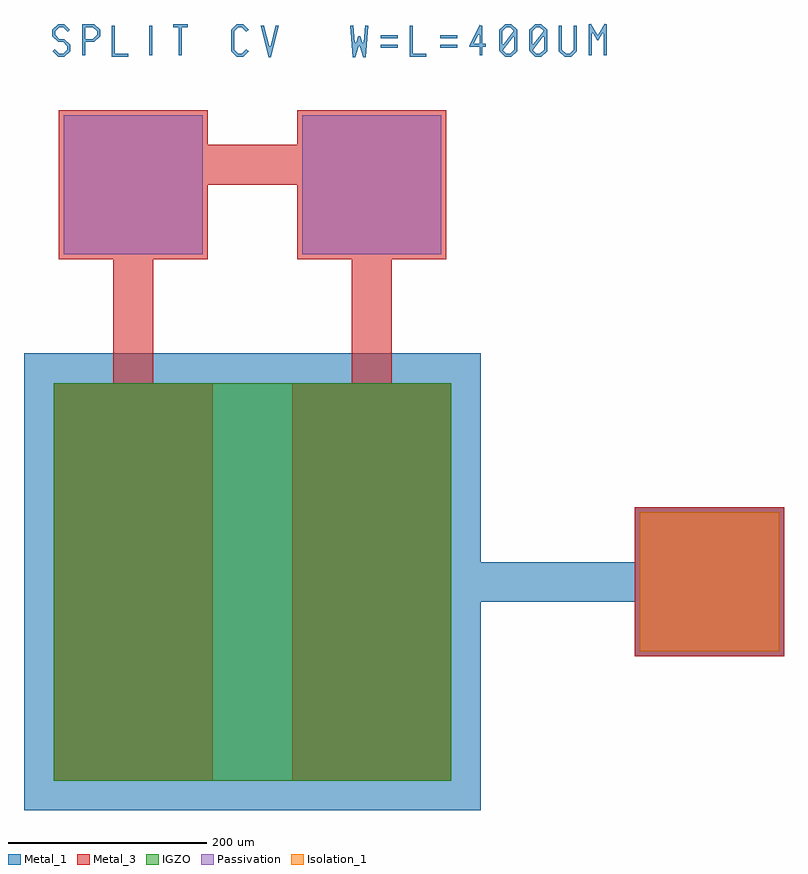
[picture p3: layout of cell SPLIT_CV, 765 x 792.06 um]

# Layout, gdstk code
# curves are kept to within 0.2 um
import gdstk
lib = gdstk.Library(unit=1e-6, precision=1e-09)
def R(c, l, rs):  # rectangles x0, y0, x1, y1
    for r in rs: c.add(gdstk.rectangle(r[:2], r[2:], *l))
def P(c, l, *ps):  # polygons
    for p in ps: c.add(gdstk.Polygon(p, *l))
Metal_1 = (1, 0)
Isolation_1 = (2, 0)
IGZO = (4, 0)
Metal_3 = (5, 0)
Passivation = (6, 0)

split_cv = lib.new_cell('SPLIT_CV')
R(split_cv, Metal_1, [(-30,-30,430,430), (585,125,735,275), (430,180,585,220), (96,730,99,760), (329,737.5,346,740.5), (389,737.5,406,740.5), (329,747.5,346,750.5), (389,747.5,406,750.5)])
P(split_cv, Metal_1, [(126,730),(126,758.5),(120,758.5),(120,761.5),(135,761.5),(135,758.5),(129,758.5),(129,730)],
  [(538.5,730),(538.5,761.5),(540.515,762.058),(547.157,750.986),(547.843,750.986),(554.485,762.058),(556.5,761.5),(556.5,730),(553.5,730),(553.5,751.975),(552.157,752.347),(548.014,745.442),(546.986,745.442),(542.843,752.347),(541.5,751.975),(541.5,730)],
  [(28.5,730),(28.5,758.5),(31.5,758.5),(31.5,746.5),(39.378,746.5),(43.5,750.622),(43.5,754.378),(39.378,758.5),(28.5,758.5),(28.5,761.5),(40.622,761.5),(46.5,755.622),(46.5,749.378),(40.622,743.5),(31.5,743.5),(31.5,730)],
  [(4.378,728.5),(-1.061,733.939),(1.061,736.061),(5.622,731.5),(9.378,731.5),(13.5,735.622),(13.5,739.378),(9.378,743.5),(4.378,743.5),(-1.5,749.378),(-1.5,755.622),(4.378,761.5),(10.622,761.5),(16.061,756.061),(13.939,753.939),(9.378,758.5),(5.622,758.5),(1.5,754.378),(1.5,750.622),(5.622,746.5),(10.622,746.5),(16.5,740.622),(16.5,734.378),(10.622,728.5)],
  [(184.378,728.5),(178.5,734.378),(178.5,755.622),(184.378,761.5),(190.622,761.5),(196.061,756.061),(193.939,753.939),(189.378,758.5),(185.622,758.5),(181.5,754.378),(181.5,735.622),(185.622,731.5),(189.378,731.5),(193.939,736.061),(196.061,733.939),(190.622,728.5)],
  [(58.5,728.5),(58.5,760),(61.5,760),(61.5,731.5),(75,731.5),(75,728.5)],
  [(358.5,728.5),(358.5,760),(361.5,760),(361.5,731.5),(375,731.5),(375,728.5)],
  [(216.409,728.181),(208.545,759.636),(211.455,760.364),(216.772,739.095),(218.228,739.095),(223.545,760.364),(226.455,759.636),(218.591,728.181)],
  [(454.378,728.5),(448.939,733.939),(448.5,735),(448.5,755.622),(451.378,758.5),(455.622,758.5),(451.5,754.378),(451.5,741.5),(452.7,741.1),(458.55,748.9),(462.3,748.9),(451.981,735.141),(455.622,731.5),(459.378,731.5),(463.5,735.622),(463.5,748.5),(462.3,748.9),(458.55,748.9),(463.019,754.859),(459.378,758.5),(451.378,758.5),(454.378,761.5),(460.622,761.5),(466.5,755.622),(466.5,734.378),(460.622,728.5)],
  [(484.378,728.5),(478.939,733.939),(478.5,735),(478.5,755.622),(481.378,758.5),(485.622,758.5),(481.5,754.378),(481.5,741.5),(482.7,741.1),(488.55,748.9),(492.3,748.9),(481.981,735.141),(485.622,731.5),(489.378,731.5),(493.5,735.622),(493.5,748.5),(492.3,748.9),(488.55,748.9),(493.019,754.859),(489.378,758.5),(481.378,758.5),(484.378,761.5),(490.622,761.5),(496.5,755.622),(496.5,734.378),(490.622,728.5)],
  [(428.5,730),(428.5,738.5),(418.5,738.5),(417.987,739.33),(423.698,750.752),(427.053,750.752),(422.703,742.053),(423.045,741.5),(428.5,741.5),(428.5,750.41),(427.053,750.752),(423.698,750.752),(428.658,760.671),(429.999,760),(431.5,760),(431.5,741.5),(435,741.5),(435,738.5),(431.5,738.5),(431.5,730)],
  [(303.53,728.146),(301.131,728.381),(298.505,759.874),(301.495,760.125),(302.941,742.765),(304.542,742.609),(306.47,749.354),(308.53,749.354),(310.458,742.609),(312.059,742.765),(313.505,760.125),(316.495,759.874),(313.869,728.381),(311.47,728.146),(308.187,739.635),(306.813,739.635)],
  [(514.378,728.5),(508.5,734.378),(508.5,760),(511.5,760),(511.5,735.622),(515.622,731.5),(519.378,731.5),(523.5,735.622),(523.5,760),(526.5,760),(526.5,734.378),(520.622,728.5)])
R(split_cv, Isolation_1, [(590,130,730,270)])
R(split_cv, IGZO, [(0,0,400,400)])
R(split_cv, Metal_3, [(0,0,160,400), (240,0,400,400), (585,125,735,275), (60,400,100,525), (300,400,340,525), (5,525,155,675), (60,525,100,640), (245,525,395,675), (300,525,340,640), (155,600,245,640)])
R(split_cv, Passivation, [(590,130,730,270), (10,530,150,670), (250,530,390,670)])

lib.write_gds('SPLIT_CV.gds')
